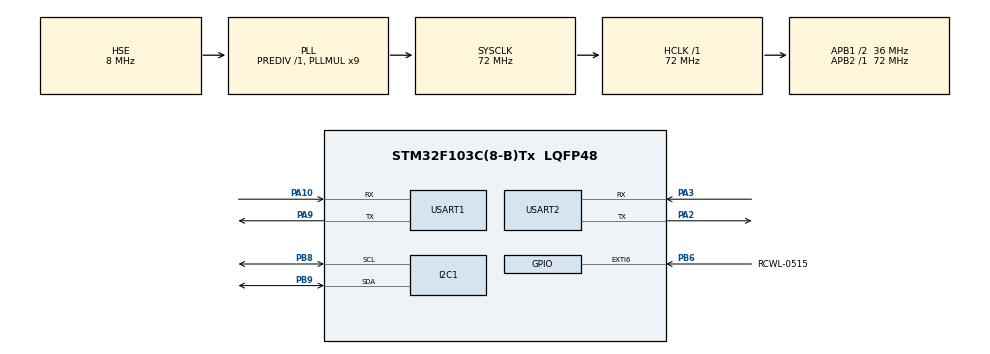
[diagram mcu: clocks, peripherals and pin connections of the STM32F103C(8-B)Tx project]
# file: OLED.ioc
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Mcu.Family=STM32F1
Mcu.Name=STM32F103C(8-B)Tx
Mcu.Package=LQFP48
NVIC.EXTI9_5_IRQn=true\:0\:0\:false\:false\:true\:true\:true\:true
NVIC.PriorityGroup=NVIC_PRIORITYGROUP_4
NVIC.RCC_IRQn=true\:0\:0\:false\:false\:true\:true\:false\:true
NVIC.RTC_Alarm_IRQn=true\:0\:0\:false\:false\:true\:true\:true\:true
NVIC.RTC_IRQn=true\:0\:0\:false\:false\:true\:true\:true\:true
PA10.Mode=Asynchronous
PA10.Signal=USART1_RX
PA13.Mode=Serial_Wire
PA13.Signal=SYS_JTMS-SWDIO
PA14.Mode=Serial_Wire
PA14.Signal=SYS_JTCK-SWCLK
PA2.Mode=Asynchronous
PA2.Signal=USART2_TX
PA3.Mode=Asynchronous
PA3.Signal=USART2_RX
PA9.Mode=Asynchronous
PA9.Signal=USART1_TX
PB6.GPIO_Label=RCWL-0515
PB6.GPIO_PuPd=GPIO_PULLDOWN
PB6.Signal=GPXTI6
PB8.Mode=I2C
PB8.Signal=I2C1_SCL
PB9.Mode=I2C
PB9.Signal=I2C1_SDA
PC14-OSC32_IN.Mode=LSE-External-Oscillator
PC14-OSC32_IN.Signal=RCC_OSC32_IN
PC15-OSC32_OUT.Mode=LSE-External-Oscillator
PC15-OSC32_OUT.Signal=RCC_OSC32_OUT
PD0-OSC_IN.Mode=HSE-External-Oscillator
PD0-OSC_IN.Signal=RCC_OSC_IN
PD1-OSC_OUT.Mode=HSE-External-Oscillator
PD1-OSC_OUT.Signal=RCC_OSC_OUT
ProjectManager.HeapSize=0x200
ProjectManager.StackSize=0x400
ProjectManager.TargetToolchain=MDK-ARM V5.32
RCC.AHBFreq_Value=72000000
RCC.APB1CLKDivider=RCC_HCLK_DIV2
RCC.APB1Freq_Value=36000000
RCC.APB1TimFreq_Value=72000000
RCC.APB2Freq_Value=72000000
RCC.APB2TimFreq_Value=72000000
RCC.HCLKFreq_Value=72000000
RCC.PLLMUL=RCC_PLL_MUL9
RCC.PLLSourceVirtual=RCC_PLLSOURCE_HSE
RCC.SYSCLKFreq_VALUE=72000000
RCC.SYSCLKSource=RCC_SYSCLKSOURCE_PLLCLK
RCC.USBFreq_Value=72000000
USART1.VirtualMode=VM_ASYNC
VP_RTC_VS_RTC_Activate.Mode=RTC_Enabled
VP_RTC_VS_RTC_Calendar.Mode=RTC_Calendar
board=custom

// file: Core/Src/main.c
/* USER CODE BEGIN Header */
/**
  ******************************************************************************
  * @file           : main.c
  * @brief          : Main program body
  ******************************************************************************
  * @attention
  *
  * Copyright (c) 2024 STMicroelectronics.
  * All rights reserved.
  *
  * This software is licensed under terms that can be found in the LICENSE file
  * in the root directory of this software component.
  * If no LICENSE file comes with this software, it is provided AS-IS.
  *
  ******************************************************************************
  */
/* USER CODE END Header */
#include "main.h"
#include "i2c.h"
#include "rtc.h"
#include "usart.h"
#include "gpio.h"

/* USER CODE BEGIN Includes */
#include "App_Monitor.h"
#include "BSP_UART.h"
#include "ML307C.h"
#include "ML307C_Config.h"
#include "RCWL0515.h"
#include "SHT30.h"
#include <string.h>
/* USER CODE END Includes */

/* USER CODE BEGIN PV */

static uint8_t g_ml307c_raw_buffer[128];  /* 模块原始 AT 回传的主循环转发缓冲区。 */

/* USER CODE END PV */

void SystemClock_Config(void);

int main(void)
{

  /* MCU Configuration--------------------------------------------------------*/

  /* Reset of all peripherals, Initializes the Flash interface and the Systick. */
  HAL_Init();

  /* Configure the system clock */
  SystemClock_Config();

  /* Initialize all configured peripherals */
  MX_GPIO_Init();
  MX_USART1_UART_Init();
  /* USER CODE BEGIN 2 */
  /* 临时振动台测试：只读取 PB6，并通过 USART1 输出雷达 OUT 电平变化。 */
  (void)BSP_UART_Write(BSP_UART_CHANNEL_DEBUG,
                       (const uint8_t *)"RCWL-0515 raw level test started.\r\n",
                       (uint16_t)strlen("RCWL-0515 raw level test started.\r\n"));

#if 0
  /* 原正式业务初始化；振动台测试完成后恢复本段。 */
  MX_I2C1_Init();
  MX_USART2_UART_Init();
  MX_RTC_Init();
  RCWL0515_Init();
  (void)SHT30_Init();
  (void)ML307C_Init(HAL_GetTick());
  App_Monitor_Init();
#endif
  /* USER CODE END 2 */

  /* Infinite loop */
  /* USER CODE BEGIN WHILE */
  while (1)
  {

#if 0
	  uint32_t now_tick_ms = HAL_GetTick();
	  uint16_t modem_read_size;

	  ML307C_Update(now_tick_ms);
	  modem_read_size = ML307C_ReadRaw(g_ml307c_raw_buffer, sizeof(g_ml307c_raw_buffer));
	  if (modem_read_size > 0U)
	  {
		  /* 先交给 ML307C 解析状态机；此步骤不能因关闭调试镜像而省略。 */
		  ML307C_OnReceive(g_ml307c_raw_buffer, modem_read_size, now_tick_ms);

#if (ML307C_DEBUG_ENABLED != 0U)
		  /* 仅开发阶段将同一批模块原始回传镜像到电脑 USART1。 */
		  (void)BSP_UART_Write(BSP_UART_CHANNEL_DEBUG, g_ml307c_raw_buffer, modem_read_size);
#endif
	  }

	  App_Monitor_Update(now_tick_ms, RCWL0515_IsMotionActive());
#endif

    /* 固定周期输出实时电平，便于观察振动过程中 OUT 的保持和回落。 */
    GPIO_PinState rcwl_current_level = HAL_GPIO_ReadPin(RCWL_0515_GPIO_Port,
                                                        RCWL_0515_Pin);
    if (rcwl_current_level == GPIO_PIN_SET)
    {
      (void)BSP_UART_Write(BSP_UART_CHANNEL_DEBUG,
                           (const uint8_t *)"RCWL-0515 OUT: HIGH (MOTION)\r\n",
                           (uint16_t)strlen("RCWL-0515 OUT: HIGH (MOTION)\r\n"));
    }
    else
    {
      (void)BSP_UART_Write(BSP_UART_CHANNEL_DEBUG,
                           (const uint8_t *)"RCWL-0515 OUT: LOW (NO MOTION)\r\n",
                           (uint16_t)strlen("RCWL-0515 OUT: LOW (NO MOTION)\r\n"));
    }

    HAL_Delay(200U);

    /* USER CODE END WHILE */

  }
}

void SystemClock_Config(void)
{
  RCC_OscInitTypeDef RCC_OscInitStruct = {0};
  RCC_ClkInitTypeDef RCC_ClkInitStruct = {0};
  RCC_PeriphCLKInitTypeDef PeriphClkInit = {0};

  /** Initializes the RCC Oscillators according to the specified parameters
  * in the RCC_OscInitTypeDef structure.
  */
  RCC_OscInitStruct.OscillatorType = RCC_OSCILLATORTYPE_LSI|RCC_OSCILLATORTYPE_HSE;
  RCC_OscInitStruct.HSEState = RCC_HSE_ON;
  RCC_OscInitStruct.HSEPredivValue = RCC_HSE_PREDIV_DIV1;
  RCC_OscInitStruct.HSIState = RCC_HSI_ON;
  RCC_OscInitStruct.LSIState = RCC_LSI_ON;
  RCC_OscInitStruct.PLL.PLLState = RCC_PLL_ON;
  RCC_OscInitStruct.PLL.PLLSource = RCC_PLLSOURCE_HSE;
  RCC_OscInitStruct.PLL.PLLMUL = RCC_PLL_MUL9;
  if (HAL_RCC_OscConfig(&RCC_OscInitStruct) != HAL_OK)
  {
    Error_Handler();
  }

  /** Initializes the CPU, AHB and APB buses clocks
  */
  RCC_ClkInitStruct.ClockType = RCC_CLOCKTYPE_HCLK|RCC_CLOCKTYPE_SYSCLK
                              |RCC_CLOCKTYPE_PCLK1|RCC_CLOCKTYPE_PCLK2;
  RCC_ClkInitStruct.SYSCLKSource = RCC_SYSCLKSOURCE_PLLCLK;
  RCC_ClkInitStruct.AHBCLKDivider = RCC_SYSCLK_DIV1;
  RCC_ClkInitStruct.APB1CLKDivider = RCC_HCLK_DIV2;
  RCC_ClkInitStruct.APB2CLKDivider = RCC_HCLK_DIV1;

  if (HAL_RCC_ClockConfig(&RCC_ClkInitStruct, FLASH_LATENCY_2) != HAL_OK)
  {
    Error_Handler();
  }
  PeriphClkInit.PeriphClockSelection = RCC_PERIPHCLK_RTC;
  PeriphClkInit.RTCClockSelection = RCC_RTCCLKSOURCE_LSI;
  if (HAL_RCCEx_PeriphCLKConfig(&PeriphClkInit) != HAL_OK)
  {
    Error_Handler();
  }
}

/* USER CODE BEGIN 4 */

#if 0
/* 原正式业务中断回调；振动台测试期间不启用。 */
/*
*********************************************************************************************************
*   函 数 名: HAL_GPIO_EXTI_Callback
*   功能说明: RCWL-0515 的上升沿中断回调；记录设备事件并通知 APP 从 STOP 醒来后的处理。
*   形    参: GPIO_Pin - 触发中断的 GPIO 引脚掩码。
*   返 回 值: 无
*********************************************************************************************************
*/
void HAL_GPIO_EXTI_Callback(uint16_t GPIO_Pin)
{
  if (GPIO_Pin == RCWL_0515_Pin)
  {
    RCWL0515_OnRisingEdge(HAL_GetTick());
    App_Monitor_OnMotion();
  }
}

/*
*********************************************************************************************************
*   函 数 名: HAL_UART_RxCpltCallback
*   功能说明: USART2 接收完成回调；仅将 ML307C 单字节交给 UART BSP 环形缓冲并重启接收。
*   形    参: huart - 本次接收完成的 UART 句柄。
*   返 回 值: 无
*********************************************************************************************************
*/
void HAL_UART_RxCpltCallback(UART_HandleTypeDef *huart)
{
  if (huart == &huart2)
  {
    BSP_UART_OnModemRxComplete();
  }
}

/*
*********************************************************************************************************
*   函 数 名: HAL_RTC_AlarmAEventCallback
*   功能说明: RTC Alarm A HAL 回调；只向 APP 投递定时唤醒事件，不执行串口或传感器业务。
*   形    参: rtc_handle - RTC HAL 句柄。
*   返 回 值: 无
*********************************************************************************************************
*/
void HAL_RTC_AlarmAEventCallback(RTC_HandleTypeDef *rtc_handle)
{
  if (rtc_handle == &hrtc)
  {
    App_Monitor_OnRtcAlarm();
  }
}
#endif

/* USER CODE END 4 */

void Error_Handler(void)
{
  __disable_irq();
  while (1)
  {
  }
}
